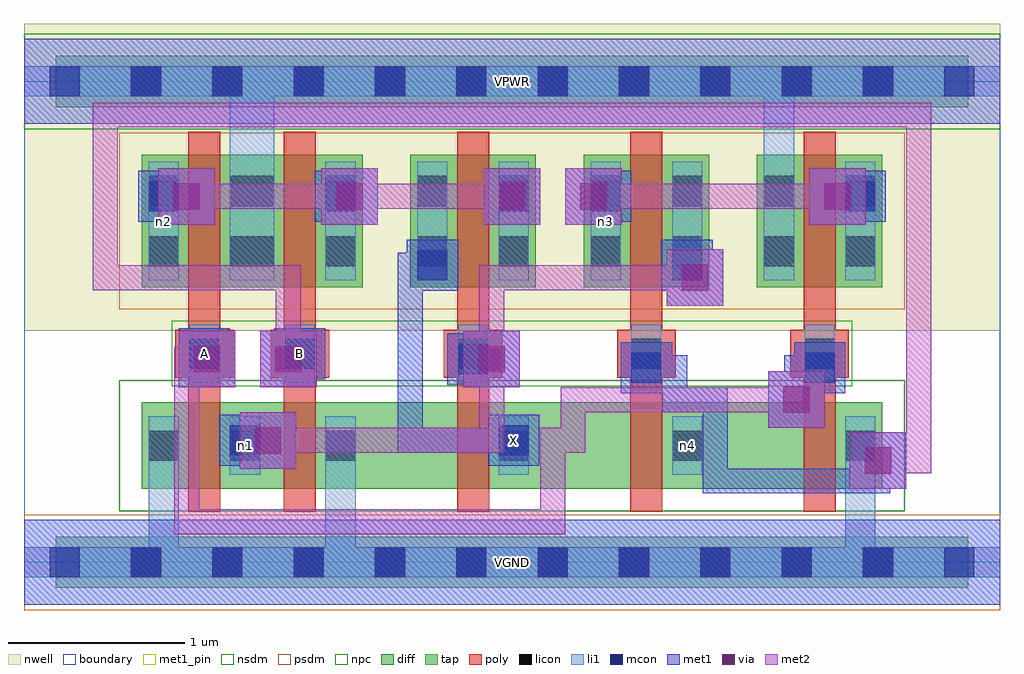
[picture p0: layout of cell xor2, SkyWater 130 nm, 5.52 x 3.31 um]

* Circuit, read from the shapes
.subckt xor2 A B VGND VPWR X n1 n2 n3 n4
XM1 n1 A VGND VGND sky130_fd_pr__nfet_01v8 w=0.49 l=0.18
XM2 VGND B n1 VGND sky130_fd_pr__nfet_01v8 w=0.49 l=0.18
XM3 X n1 VGND VGND sky130_fd_pr__nfet_01v8 w=0.49 l=0.18
XM4 n4 B X VGND sky130_fd_pr__nfet_01v8 w=0.49 l=0.18
XM5 VGND A n4 VGND sky130_fd_pr__nfet_01v8 w=0.49 l=0.18
XM6 VPWR A n2 VPWR sky130_fd_pr__pfet_01v8 w=0.75 l=0.18
XM7 n2 B VPWR VPWR sky130_fd_pr__pfet_01v8 w=0.75 l=0.18
XM8 n2 n1 X VPWR sky130_fd_pr__pfet_01v8 w=0.75 l=0.18
XM9 n1 B n3 VPWR sky130_fd_pr__pfet_01v8 w=0.75 l=0.18
XM10 n3 A VPWR VPWR sky130_fd_pr__pfet_01v8 w=0.75 l=0.18
.ends

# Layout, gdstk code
import gdstk
lib = gdstk.Library(unit=1e-6, precision=1e-09)
def R(c, l, rs):  # rectangles x0, y0, x1, y1
    for r in rs: c.add(gdstk.rectangle(r[:2], r[2:], *l))
def A(c, l, x, y, w, h, nx, ny, dx, dy):  # array of equal rectangles
    R(c, l, [(x+i*dx, y+j*dy, x+i*dx+w, y+j*dy+h) for i in range(nx) for j in range(ny)])
nwell = (64, 20)
diff = (65, 20)
tap = (65, 44)
poly = (66, 20)
licon = (66, 44)
li1 = (67, 20)
mcon = (67, 44)
met1_pin = (68, 16)
met1 = (68, 20)
via = (68, 44)
met2 = (69, 20)
nsdm = (93, 44)
psdm = (94, 20)
npc = (95, 20)
boundary = (235, 4)

xor2 = lib.new_cell('xor2')
R(xor2, nwell, [(0,1.31,5.52,3.045)])
A(xor2, diff, 1.205, 1.555, 0.71, 0.75, 4, 1, 0.98, 0)
R(xor2, diff, [(0.665,0.415,4.855,0.905), (0.665,1.555,1.375,2.305)])
R(xor2, tap, [(0.18,-0.145,5.34,0.145), (0.18,2.575,5.34,2.865)])
A(xor2, poly, 1.47, 0.285, 0.18, 2.15, 4, 1, 0.98, 0)
A(xor2, poly, 1.395, 1.045, 0.33, 0.27, 4, 1, 0.98, 0)
R(xor2, poly, [(0.93,0.285,1.11,2.435), (0.855,1.045,1.185,1.315)])
A(xor2, licon, 0.605, -0.085, 0.17, 0.17, 10, 2, 0.46, 2.72)
A(xor2, licon, 1.705, 0.575, 0.17, 0.17, 4, 1, 0.98, 0)
A(xor2, licon, 1.475, 1.095, 0.17, 0.17, 4, 1, 0.98, 0)
R(xor2, licon, [(0.705,0.575,0.875,0.745), (1.165,0.575,1.335,0.745), (0.935,1.095,1.105,1.265), (0.705,1.675,0.875,1.845), (1.165,1.675,1.335,1.845), (1.245,1.675,1.415,1.845), (1.705,1.675,1.875,1.845), (2.225,1.675,2.395,1.845), (2.685,1.675,2.855,1.845), (3.205,1.675,3.375,1.845), (3.665,1.675,3.835,1.845), (4.185,1.675,4.355,1.845), (4.645,1.675,4.815,1.845), (0.705,2.015,0.875,2.185), (1.165,2.015,1.335,2.185), (1.245,2.015,1.415,2.185), (1.705,2.015,1.875,2.185), (2.225,2.015,2.395,2.185), (2.685,2.015,2.855,2.185), (3.205,2.015,3.375,2.185), (3.665,2.015,3.835,2.185), (4.185,2.015,4.355,2.185), (4.645,2.015,4.815,2.185)])
A(xor2, li1, 1.705, 0.495, 0.17, 0.33, 4, 1, 0.98, 0)
A(xor2, li1, 1.475, 1.015, 0.17, 0.33, 4, 1, 0.98, 0)
R(xor2, li1, [(0,-0.085,5.52,0.085), (0.705,-0.085,0.875,0.825), (1.705,-0.085,1.875,0.825), (4.645,-0.085,4.815,0.825), (0.705,0.495,0.875,0.825), (1.165,0.495,1.335,0.825), (0.935,1.015,1.105,1.345), (0.705,1.595,0.875,2.265), (1.165,1.595,1.335,2.265), (1.165,1.595,1.335,2.805), (1.245,1.595,1.415,2.265), (1.245,1.595,1.415,2.805), (1.705,1.595,1.875,2.265), (2.225,1.595,2.395,2.265), (2.685,1.595,2.855,2.265), (3.205,1.595,3.375,2.265), (3.665,1.595,3.835,2.265), (4.185,1.595,4.355,2.265), (4.185,1.595,4.355,2.805), (4.645,1.595,4.815,2.265), (0,2.635,5.52,2.805)])
A(xor2, mcon, 0.145, -0.085, 0.17, 0.17, 12, 2, 0.46, 2.72)
R(xor2, mcon, [(1.165,0.605,1.335,0.775), (2.685,0.605,2.855,0.775), (3.435,1.015,3.605,1.185), (4.415,1.015,4.585,1.185), (2.455,1.065,2.625,1.235), (0.935,1.095,1.105,1.265), (1.475,1.095,1.645,1.265), (2.225,1.595,2.395,1.765), (3.665,1.595,3.835,1.765), (0.705,1.985,0.875,2.155), (1.705,1.985,1.875,2.155), (2.685,1.985,2.855,2.155), (3.205,1.985,3.375,2.155), (4.645,1.985,4.815,2.155)])
R(xor2, met1_pin, [(0,-0.24,5.52,0.24), (2.625,0.545,2.915,0.835), (0.875,1.035,1.165,1.325), (1.415,1.035,1.705,1.325), (0,2.48,5.52,2.96)])
A(xor2, met1, 0.76, 1.91, 0.32, 0.32, 3, 1, 0.92, 0)
R(xor2, met1, [(0,-0.24,5.52,0.24), (3.84,0.39,4.9,0.53), (3.84,0.39,3.98,0.99), (4.76,0.39,4.9,0.645), (4.67,0.415,4.99,0.735), (1.22,0.53,1.54,0.85), (1.105,0.545,1.395,0.835), (2.625,0.545,2.915,0.835), (1.18,0.62,1.45,0.76), (2.115,0.62,2.715,0.76), (2.115,0.62,2.255,1.565), (2.575,0.62,2.84,0.76), (4.21,0.76,4.53,1.08), (3.61,0.85,3.75,1.17), (3.61,0.85,3.98,0.99), (4.3,0.85,4.44,1.17), (3.375,0.955,3.665,1.245), (4.355,0.955,4.645,1.245), (0.875,0.99,1.195,1.31), (1.335,0.99,1.655,1.31), (2.485,0.99,2.805,1.31), (2.395,1.005,2.685,1.295), (3.45,1.03,3.75,1.17), (4.3,1.03,4.57,1.17), (0.875,1.035,1.165,1.325), (1.415,1.035,1.705,1.325), (0.965,1.08,1.105,1.22), (1.425,1.08,1.565,1.22), (2.47,1.08,2.715,1.22), (2.115,1.425,2.255,1.75), (3.635,1.45,3.955,1.77), (2.165,1.535,2.455,1.825), (3.605,1.535,3.895,1.825), (3.725,1.54,3.865,1.75), (2.115,1.61,2.38,1.75), (3.68,1.61,3.865,1.75), (3.06,1.91,3.38,2.23), (4.44,1.91,4.76,2.23), (0.645,1.925,0.935,2.215), (1.645,1.925,1.935,2.215), (2.625,1.925,2.915,2.215), (3.145,1.925,3.435,2.215), (4.585,1.925,4.875,2.215), (0.72,2,0.99,2.14), (1.72,2,1.91,2.14), (2.69,2,2.84,2.14), (3.15,2,3.36,2.14), (4.53,2,4.8,2.14), (0,2.48,5.52,2.96)])
A(xor2, via, 0.845, 1.995, 0.15, 0.15, 3, 1, 0.92, 0)
R(xor2, via, [(4.755,0.5,4.905,0.65), (1.305,0.615,1.455,0.765), (4.295,0.845,4.445,0.995), (0.96,1.075,1.11,1.225), (1.42,1.075,1.57,1.225), (2.57,1.075,2.72,1.225), (3.72,1.535,3.87,1.685), (3.145,1.995,3.295,2.145), (4.525,1.995,4.675,2.145)])
A(xor2, met2, 0.76, 1.91, 0.32, 0.32, 3, 1, 0.92, 0)
R(xor2, met2, [(0.85,0.16,0.99,1.22), (0.85,0.16,3.06,0.3), (2.92,0.16,3.06,0.76), (4.67,0.415,4.99,0.735), (4.76,0.505,5.13,0.645), (4.99,0.505,5.13,2.6), (1.22,0.53,1.54,0.85), (1.31,0.62,2.715,0.76), (2.575,0.62,2.715,1.22), (2.92,0.62,3.175,0.76), (3.035,0.62,3.175,0.99), (4.21,0.76,4.53,1.08), (3.035,0.85,4.44,0.99), (0.875,0.99,1.195,1.31), (1.335,0.99,1.655,1.31), (2.485,0.99,2.805,1.31), (0.85,1.08,1.105,1.22), (1.425,1.08,1.565,1.68), (2.575,1.08,2.715,1.68), (3.635,1.45,3.955,1.77), (0.39,1.54,0.53,2.6), (0.39,1.54,1.565,1.68), (2.575,1.54,3.865,1.68), (3.06,1.91,3.38,2.23), (4.44,1.91,4.76,2.23), (0.85,2,1.91,2.14), (1.77,2,2.83,2.14), (3.15,2,4.67,2.14), (0.39,2.46,5.13,2.6)])
R(xor2, nsdm, [(0.54,0.29,4.98,1.03), (0,2.45,5.52,2.99)])
R(xor2, psdm, [(0,-0.27,5.52,0.27), (0.54,1.43,4.98,2.43)])
R(xor2, npc, [(0.835,0.995,4.685,1.365)])
R(xor2, boundary, [(0,0,5.52,2.72)])
xor2.add(gdstk.Label('n1', (1.25,0.66), layer=67, texttype=5))
xor2.add(gdstk.Label('n4', (3.75,0.66), layer=67, texttype=5))
xor2.add(gdstk.Label('n2', (0.79,1.93), layer=67, texttype=5))
xor2.add(gdstk.Label('n3', (3.29,1.93), layer=67, texttype=5))
xor2.add(gdstk.Label('A', (1.02,1.18), layer=68, texttype=5))
xor2.add(gdstk.Label('B', (1.56,1.18), layer=68, texttype=5))
xor2.add(gdstk.Label('X', (2.77,0.69), layer=68, texttype=5))
xor2.add(gdstk.Label('VPWR', (2.76,2.72), layer=68, texttype=5))
xor2.add(gdstk.Label('VGND', (2.76,0), layer=68, texttype=5))
xor2.add(gdstk.Label('A', (1.02,1.18), layer=68, texttype=16))
xor2.add(gdstk.Label('B', (1.56,1.18), layer=68, texttype=16))
xor2.add(gdstk.Label('X', (2.77,0.69), layer=68, texttype=16))
xor2.add(gdstk.Label('VPWR', (2.76,2.72), layer=68, texttype=16))
xor2.add(gdstk.Label('VGND', (2.76,0), layer=68, texttype=16))

lib.write_gds('xor2.gds')
